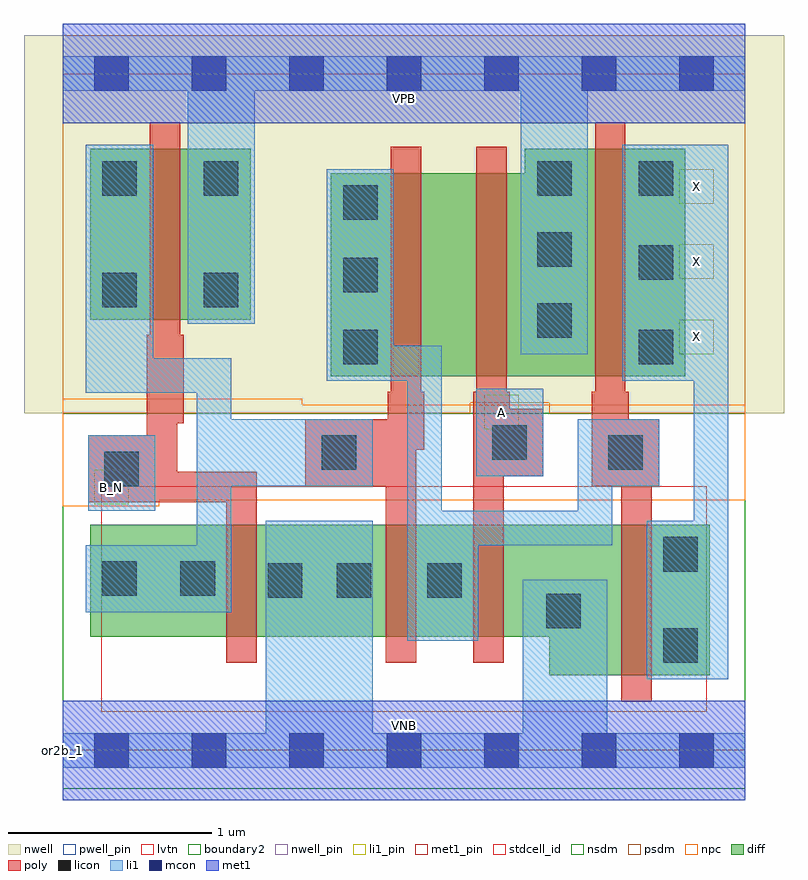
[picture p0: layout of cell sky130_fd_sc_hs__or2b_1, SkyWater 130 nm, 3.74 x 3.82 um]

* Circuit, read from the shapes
.subckt sky130_fd_sc_hs__or2b_1 A B_N VGND VNB VPB VPWR X
XM1 VGND B_N n1 VNB sky130_fd_pr__nfet_01v8_lvt w=0.55 l=0.15
XM2 n2 n1 VGND VNB sky130_fd_pr__nfet_01v8_lvt w=0.55 l=0.15
XM3 VGND A n2 VNB sky130_fd_pr__nfet_01v8_lvt w=0.55 l=0.15
XM4 X n2 VGND VNB sky130_fd_pr__nfet_01v8_lvt w=0.74 l=0.15
XM5 VPWR B_N n1 VPB sky130_fd_pr__pfet_01v8 w=0.84 l=0.15
XM6 n3 n1 n2 VPB sky130_fd_pr__pfet_01v8 w=1 l=0.15
XM7 VPWR A n3 VPB sky130_fd_pr__pfet_01v8 w=1 l=0.15
XM8 X n2 VPWR VPB sky130_fd_pr__pfet_01v8 w=1.12 l=0.15
.ends

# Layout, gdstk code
import gdstk
lib = gdstk.Library(unit=1e-6, precision=1e-09)
def R(c, l, rs):  # rectangles x0, y0, x1, y1
    for r in rs: c.add(gdstk.rectangle(r[:2], r[2:], *l))
def A(c, l, x, y, w, h, nx, ny, dx, dy):  # array of equal rectangles
    R(c, l, [(x+i*dx, y+j*dy, x+i*dx+w, y+j*dy+h) for i in range(nx) for j in range(ny)])
def P(c, l, *ps):  # polygons
    for p in ps: c.add(gdstk.Polygon(p, *l))
nwell_pin = (64, 16)
nwell = (64, 20)
diff = (65, 20)
poly = (66, 20)
licon = (66, 44)
li1_pin = (67, 16)
li1 = (67, 20)
mcon = (67, 44)
met1_pin = (68, 16)
met1 = (68, 20)
stdcell_id = (81, 4)
nsdm = (93, 44)
psdm = (94, 20)
npc = (95, 20)
pwell_pin = (122, 16)
lvtn = (125, 44)
boundary2 = (236, 0)

sky130_fd_sc_hs__or2b_1 = lib.new_cell('sky130_fd_sc_hs__or2b_1')
R(sky130_fd_sc_hs__or2b_1, nwell_pin, [(0,3.085,3.36,3.33)])
R(sky130_fd_sc_hs__or2b_1, nwell, [(-0.19,1.66,3.55,3.52)])
R(sky130_fd_sc_hs__or2b_1, diff, [(0.135,2.12,0.925,2.96)])
P(sky130_fd_sc_hs__or2b_1, diff, [(3.065,2.96),(2.275,2.96),(2.275,2.84),(1.32,2.84),(1.32,1.84),(3.065,1.84)],
  [(3.185,1.11),(0.135,1.11),(0.135,0.56),(2.395,0.56),(2.395,0.37),(3.185,0.37)])
P(sky130_fd_sc_hs__or2b_1, poly, [(2.935,1.63),(2.785,1.63),(2.785,1.765),(2.77,1.765),(2.77,3.09),(2.62,3.09),(2.62,1.765),(2.605,1.765),(2.605,1.3),(2.75,1.3),(2.75,0.24),(2.9,0.24),(2.9,1.3),(2.935,1.3)],
  [(2.365,1.68),(2.2,1.68),(2.2,1.765),(2.185,1.765),(2.185,2.97),(2.035,2.97),(2.035,1.765),(2.02,1.765),(2.02,0.43),(2.17,0.43),(2.17,1.35),(2.365,1.35)],
  [(1.78,1.765),(1.765,1.765),(1.765,2.97),(1.615,2.97),(1.615,1.765),(1.6,1.765),(1.6,1.63),(1.195,1.63),(1.195,1.3),(1.59,1.3),(1.59,0.43),(1.74,0.43),(1.74,1.48),(1.78,1.48)],
  [(0.955,1.37),(0.565,1.37),(0.565,1.61),(0.595,1.61),(0.595,2.045),(0.58,2.045),(0.58,3.09),(0.43,3.09),(0.43,2.045),(0.415,2.045),(0.415,1.55),(0.125,1.55),(0.125,1.22),(0.805,1.22),(0.805,0.43),(0.955,0.43)])
A(sky130_fd_sc_hs__or2b_1, licon, 1.38, 1.9, 0.17, 0.17, 1, 3, 0, 0.355)
A(sky130_fd_sc_hs__or2b_1, licon, 2.835, 1.9, 0.17, 0.17, 1, 3, 0, 0.415)
A(sky130_fd_sc_hs__or2b_1, licon, 2.335, 2.03, 0.17, 0.17, 1, 3, 0, 0.35)
R(sky130_fd_sc_hs__or2b_1, licon, [(2.955,0.43,3.125,0.6), (2.38,0.6,2.55,0.77), (1.01,0.75,1.18,0.92), (1.35,0.75,1.52,0.92), (1.795,0.75,1.965,0.92), (0.195,0.76,0.365,0.93), (0.58,0.76,0.75,0.93), (2.955,0.88,3.125,1.05), (0.205,1.3,0.375,1.47), (1.275,1.38,1.445,1.55), (2.685,1.38,2.855,1.55), (2.115,1.43,2.285,1.6), (0.195,2.18,0.365,2.35), (0.695,2.18,0.865,2.35), (0.195,2.73,0.365,2.9), (0.695,2.73,0.865,2.9)])
A(sky130_fd_sc_hs__or2b_1, li1_pin, 3.035, 1.95, 0.17, 0.17, 1, 3, 0, 0.37)
R(sky130_fd_sc_hs__or2b_1, li1_pin, [(0.155,1.21,0.325,1.38), (2.075,1.58,2.245,1.75)])
R(sky130_fd_sc_hs__or2b_1, li1, [(0.125,1.18,0.455,1.55), (2.035,1.35,2.365,1.78)])
P(sky130_fd_sc_hs__or2b_1, li1, [(0.615,2.1),(0.615,3.245),(0,3.245),(0,3.415),(3.36,3.415),(3.36,3.245),(2.585,3.245),(2.585,1.95),(2.255,1.95),(2.255,3.245),(0.945,3.245),(0.945,2.1)],
  [(2.265,0.085),(2.265,0.84),(2.68,0.84),(2.68,0.085),(3.36,0.085),(3.36,-0.085),(0,-0.085),(0,0.085),(1,0.085),(1,1.13),(1.525,1.13),(1.525,0.085)],
  [(2.705,1.01),(2.045,1.01),(2.045,0.54),(1.695,0.54),(1.695,1.82),(1.3,1.82),(1.3,2.86),(1.63,2.86),(1.63,1.99),(1.865,1.99),(1.865,1.18),(2.535,1.18),(2.535,1.63),(2.935,1.63),(2.935,1.3),(2.705,1.3)],
  [(2.755,1.82),(2.755,2.98),(3.275,2.98),(3.275,0.35),(2.875,0.35),(2.875,1.13),(3.105,1.13),(3.105,1.82)],
  [(0.66,1.76),(0.115,1.76),(0.115,2.98),(0.445,2.98),(0.445,1.93),(0.83,1.93),(0.83,1.63),(1.525,1.63),(1.525,1.3),(0.83,1.3),(0.83,0.68),(0.115,0.68),(0.115,1.01),(0.66,1.01)])
A(sky130_fd_sc_hs__or2b_1, mcon, 0.155, -0.085, 0.17, 0.17, 7, 2, 0.48, 3.33)
R(sky130_fd_sc_hs__or2b_1, met1_pin, [(0,0,3.36,0.245), (0,3.085,3.36,3.33)])
R(sky130_fd_sc_hs__or2b_1, met1, [(0,-0.245,3.36,0.245), (0,3.085,3.36,3.575)])
R(sky130_fd_sc_hs__or2b_1, stdcell_id, [(0,0,3.36,3.33)])
R(sky130_fd_sc_hs__or2b_1, nsdm, [(0,-0.19,3.36,1.66)])
P(sky130_fd_sc_hs__or2b_1, psdm, [(3.36,3.52),(0,3.52),(0,1.66),(2.005,1.66),(2.005,1.71),(2.395,1.71),(2.395,1.66),(3.36,1.66)])
P(sky130_fd_sc_hs__or2b_1, npc, [(3.36,1.7),(1.18,1.7),(1.18,1.73),(0,1.73),(0,1.2),(0.475,1.2),(0.475,1.23),(3.36,1.23)])
R(sky130_fd_sc_hs__or2b_1, pwell_pin, [(0,0,3.36,0.245)])
R(sky130_fd_sc_hs__or2b_1, lvtn, [(0.19,0.19,3.17,1.3)])
R(sky130_fd_sc_hs__or2b_1, boundary2, [(0,0,3.36,3.33)])
sky130_fd_sc_hs__or2b_1.add(gdstk.Label('or2b_1', (0,0), layer=83, texttype=44))
sky130_fd_sc_hs__or2b_1.add(gdstk.Label('VNB', (1.68,0.123), layer=64, texttype=59))
sky130_fd_sc_hs__or2b_1.add(gdstk.Label('VPB', (1.68,3.208), layer=64, texttype=5))
sky130_fd_sc_hs__or2b_1.add(gdstk.Label('VPWR', (1.68,3.208), layer=68, texttype=5))
sky130_fd_sc_hs__or2b_1.add(gdstk.Label('VGND', (1.68,0.123), layer=68, texttype=5))
sky130_fd_sc_hs__or2b_1.add(gdstk.Label('X', (3.12,2.035), layer=67, texttype=5))
sky130_fd_sc_hs__or2b_1.add(gdstk.Label('X', (3.12,2.405), layer=67, texttype=5))
sky130_fd_sc_hs__or2b_1.add(gdstk.Label('X', (3.12,2.775), layer=67, texttype=5))
sky130_fd_sc_hs__or2b_1.add(gdstk.Label('B_N', (0.24,1.295), layer=67, texttype=5))
sky130_fd_sc_hs__or2b_1.add(gdstk.Label('A', (2.16,1.665), layer=67, texttype=5))

lib.write_gds('sky130_fd_sc_hs__or2b_1.gds')
